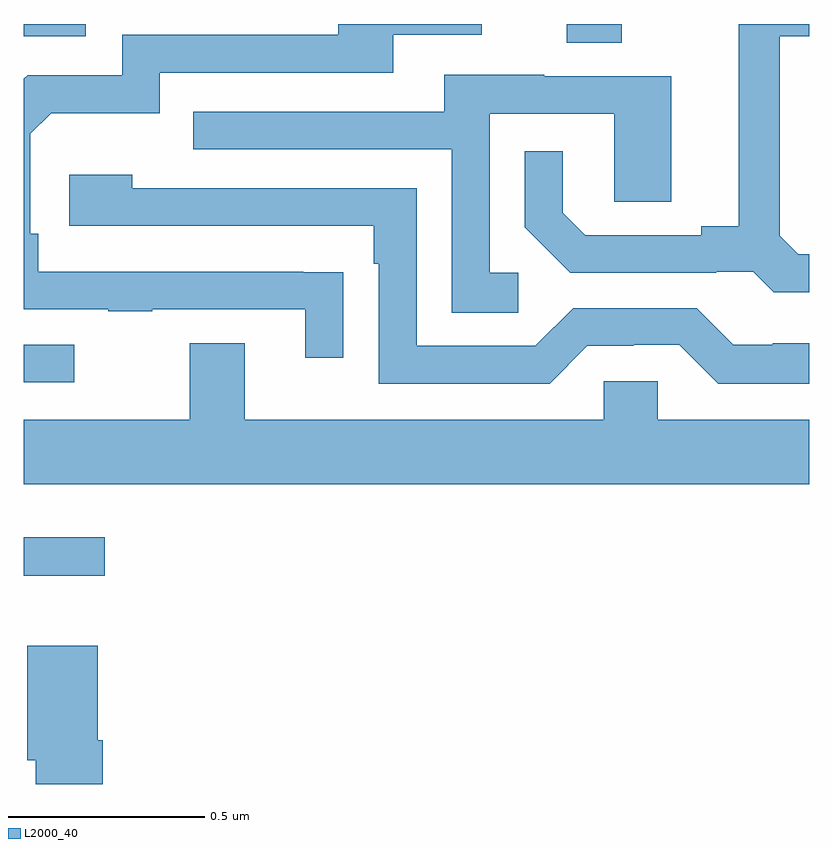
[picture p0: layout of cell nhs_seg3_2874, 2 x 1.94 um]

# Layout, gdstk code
import gdstk
lib = gdstk.Library(unit=1e-6, precision=1e-09)
def R(c, l, rs):  # rectangles x0, y0, x1, y1
    for r in rs: c.add(gdstk.rectangle(r[:2], r[2:], *l))
def P(c, l, *ps):  # polygons
    for p in ps: c.add(gdstk.Polygon(p, *l))
L2000_40 = (2000, 40)

nhs_seg3_2874 = lib.new_cell('nhs_seg3_2874')
R(nhs_seg3_2874, L2000_40, [(146,721.995,146.206,722.092), (146,722.487,146.128,722.583), (147.383,723.352,147.523,723.4), (146,723.369,146.158,723.4)])
P(nhs_seg3_2874, L2000_40, [(148,722.814),(147.972,722.814),(147.925,722.861),(147.925,723.369),(148,723.369),(148,723.4),(147.821,723.4),(147.821,722.885),(147.725,722.885),(147.725,722.862),(147.43,722.862),(147.373,722.919),(147.373,723.076),(147.276,723.076),(147.276,722.882),(147.392,722.766),(147.764,722.766),(147.764,722.769),(147.858,722.769),(147.91,722.717),(148,722.717)],
  [(146.813,722.768),(146.711,722.768),(146.711,722.769),(146.036,722.769),(146.036,722.866),(146.016,722.866),(146.016,723.12),(146.069,723.173),(146.346,723.173),(146.346,723.276),(146.941,723.276),(146.941,723.372),(147.166,723.372),(147.166,723.4),(146.801,723.4),(146.801,723.372),(146.25,723.372),(146.25,723.27),(146.01,723.27),(146,723.26),(146,722.673),(146.215,722.673),(146.215,722.668),(146.327,722.668),(146.327,722.673),(146.717,722.673),(146.717,722.55),(146.813,722.55)],
  [(147.259,722.766),(147.186,722.766),(147.186,723.171),(147.504,723.171),(147.504,722.947),(147.649,722.947),(147.649,723.267),(147.325,723.267),(147.325,723.271),(147.071,723.271),(147.071,723.177),(146.431,723.177),(146.431,723.081),(147.09,723.081),(147.09,722.665),(147.259,722.665)],
  [(148,722.587),(147.907,722.587),(147.907,722.583),(147.807,722.583),(147.714,722.676),(147.399,722.676),(147.303,722.58),(147,722.58),(147,722.982),(146.276,722.982),(146.276,723.016),(146.115,723.016),(146.115,722.886),(146.891,722.886),(146.891,722.789),(146.904,722.789),(146.904,722.484),(147.339,722.484),(147.435,722.58),(147.554,722.58),(147.554,722.583),(147.669,722.583),(147.769,722.483),(148,722.483)],
  [(148,722.392),(147.615,722.392),(147.615,722.49),(147.477,722.49),(147.477,722.392),(146.563,722.392),(146.563,722.587),(146.423,722.587),(146.423,722.392),(146,722.392),(146,722.228),(148,722.228)],
  [(146.201,721.576),(146.188,721.576),(146.188,721.816),(146.009,721.816),(146.009,721.524),(146.03,721.524),(146.03,721.464),(146.201,721.464)])

lib.write_gds('nhs_seg3_2874.gds')
